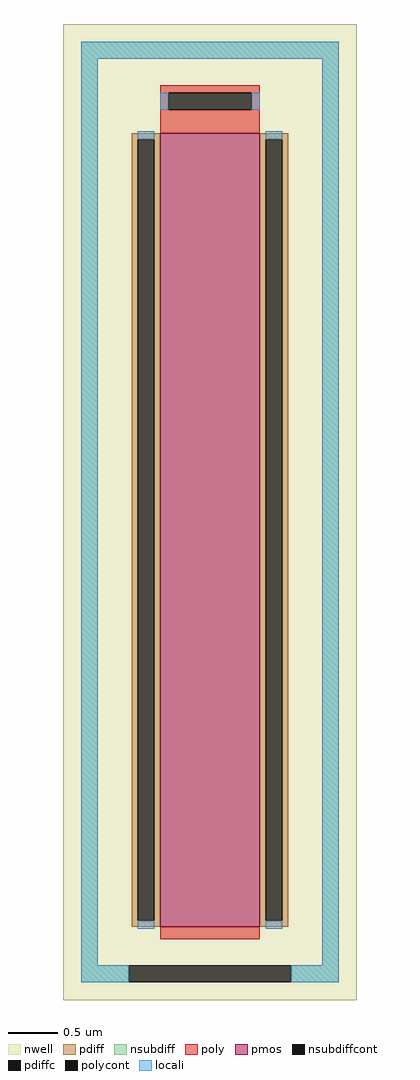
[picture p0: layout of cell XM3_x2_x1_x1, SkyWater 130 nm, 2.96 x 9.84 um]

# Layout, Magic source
magic
tech sky130A
magscale 1 2
<< nwell >>
rect -296 -984 296 984
<< pmos >>
rect -100 -836 100 764
<< pdiff >>
rect -158 752 -100 764
rect -158 -824 -146 752
rect -112 -824 -100 752
rect -158 -836 -100 -824
rect 100 752 158 764
rect 100 -824 112 752
rect 146 -824 158 752
rect 100 -836 158 -824
<< pdiffc >>
rect -146 -824 -112 752
rect 112 -824 146 752
<< nsubdiff >>
rect -260 914 260 948
rect -260 -914 -226 914
rect 226 -914 260 914
rect -260 -948 -164 -914
rect 164 -948 260 -914
<< nsubdiffcont >>
rect -164 -948 164 -914
<< poly >>
rect -100 845 100 861
rect -100 811 -84 845
rect 84 811 100 845
rect -100 764 100 811
rect -100 -862 100 -836
<< polycont >>
rect -84 811 84 845
<< locali >>
rect -260 914 260 948
rect -260 -914 -226 914
rect -100 811 -84 845
rect 84 811 100 845
rect -146 752 -112 768
rect -146 -840 -112 -824
rect 112 752 146 768
rect 112 -840 146 -824
rect 226 -914 260 914
rect -260 -948 -164 -914
rect 164 -948 260 -914
<< properties >>
string FIXED_BBOX -243 -931 243 931
<< end >>
